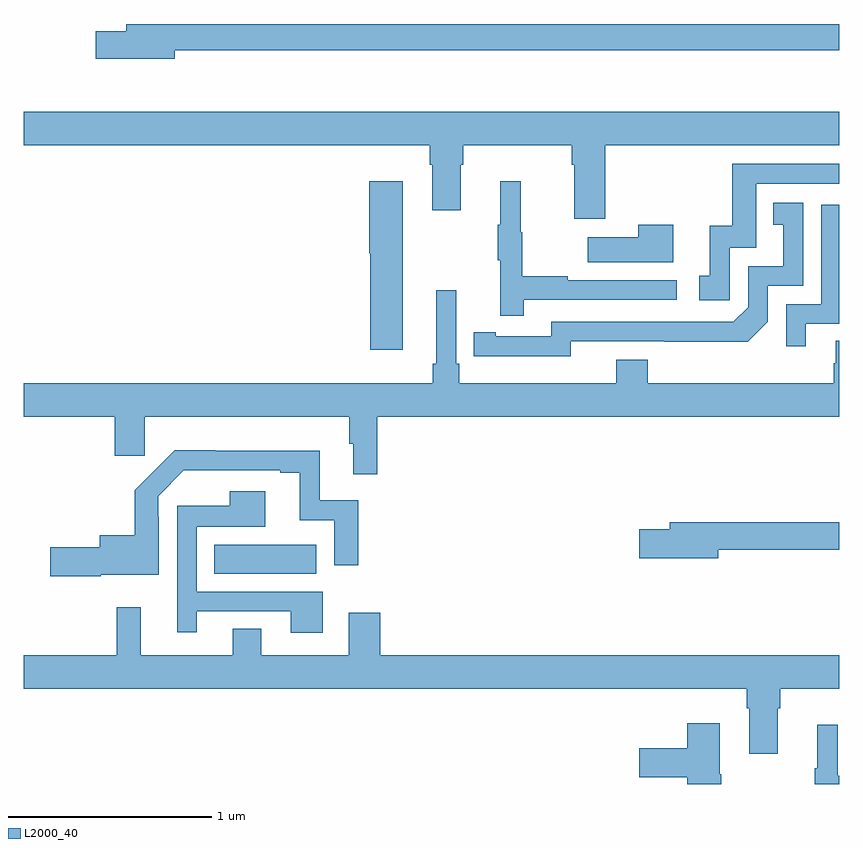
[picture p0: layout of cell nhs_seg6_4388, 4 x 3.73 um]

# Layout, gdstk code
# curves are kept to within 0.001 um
import gdstk
lib = gdstk.Library(unit=1e-6, precision=1e-09)
def R(c, l, rs):  # rectangles x0, y0, x1, y1
    for r in rs: c.add(gdstk.rectangle(r[:2], r[2:], *l))
def P(c, l, *ps):  # polygons
    for p in ps: c.add(gdstk.Polygon(p, *l))
L2000_40 = (2000, 40)

nhs_seg6_4388 = lib.new_cell('nhs_seg6_4388')
R(nhs_seg6_4388, L2000_40, [(369.934,982.532,370.435,982.672)])
P(nhs_seg6_4388, L2000_40, [(369.742,985.098),(373,985.098),(373,985.226),(369.503,985.226),(369.503,985.19),(369.354,985.19),(369.354,985.055),(369.742,985.055)],
  [(371.852,984.632),(373,984.632),(373,984.796),(369,984.796),(369,984.632),(370.991,984.632),(370.991,984.536),(371.003,984.536),(371.003,984.312),(371.143,984.312),(371.143,984.536),(371.156,984.536),(371.156,984.632),(371.687,984.632),(371.687,984.536),(371.699,984.536),(371.699,984.27),(371.852,984.27)],
  [(372.462,984.129),(372.591,984.129),(372.591,984.444),(373,984.444),(373,984.54),(372.475,984.54),(372.475,984.238),(372.365,984.238),(372.365,983.991),(372.312,983.991),(372.312,983.871),(372.462,983.871)],
  [(371.453,983.874),(372.202,983.874),(372.202,983.97),(371.669,983.97),(371.669,983.99),(371.446,983.99),(371.446,984.204),(371.438,984.204),(371.438,984.454),(371.336,984.454),(371.336,984.241),(371.325,984.241),(371.325,984.067),(371.336,984.067),(371.336,983.796),(371.453,983.796)],
  [(370.858,984.454),(370.694,984.454),(370.694,984.102),(370.7,984.102),(370.7,983.628),(370.858,983.628)],
  [(371.682,983.67),(372.55,983.669),(372.648,983.766),(372.648,983.943),(372.822,983.943),(372.822,984.349),(372.676,984.349),(372.676,984.243),(372.725,984.243),(372.725,984.039),(372.552,984.039),(372.552,983.838),(372.48,983.766),(371.586,983.766),(371.586,983.694),(371.314,983.694),(371.314,983.714),(371.206,983.714),(371.206,983.598),(371.682,983.597)],
  [(372.835,983.757),(373,983.757),(373,984.339),(372.912,984.339),(372.912,983.853),(372.738,983.853),(372.738,983.646),(372.835,983.646)],
  [(372.184,984.241),(372.014,984.241),(372.014,984.181),(371.765,984.181),(371.765,984.059),(372.184,984.059)],
  [(370.733,983.3),(373,983.3),(373,983.672),(372.983,983.672),(372.983,983.562),(372.971,983.562),(372.971,983.464),(372.059,983.464),(372.059,983.581),(371.906,983.581),(371.906,983.464),(371.135,983.464),(371.135,983.56),(371.121,983.56),(371.121,983.92),(371.024,983.92),(371.024,983.56),(371.005,983.56),(371.005,983.464),(369,983.464),(369,983.3),(369.448,983.3),(369.448,983.109),(369.593,983.109),(369.593,983.3),(370.597,983.3),(370.597,983.168),(370.616,983.168),(370.616,983.019),(370.733,983.019)],
  [(369.378,982.526),(369.663,982.526),(369.663,982.811),(369.66,982.811),(369.66,982.911),(369.786,983.037),(370.259,983.037),(370.259,983.025),(370.355,983.025),(370.355,982.794),(370.524,982.794),(370.524,982.572),(370.64,982.572),(370.64,982.89),(370.453,982.89),(370.453,983.134),(369.941,983.134),(369.941,983.137),(369.742,983.137),(369.545,982.939),(369.545,982.72),(369.374,982.72),(369.374,982.661),(369.132,982.661),(369.132,982.519),(369.378,982.519)],
  [(370.468,982.443),(369.849,982.443),(369.849,982.76),(370.186,982.76),(370.186,982.936),(370.01,982.936),(370.01,982.864),(369.753,982.864),(369.753,982.245),(369.85,982.245),(369.85,982.347),(370.31,982.347),(370.31,982.241),(370.468,982.241)],
  [(372.406,982.648),(373,982.648),(373,982.784),(372.167,982.784),(372.167,982.748),(372.018,982.748),(372.018,982.606),(372.406,982.606)],
  [(372.697,981.872),(372.71,981.872),(372.71,981.968),(373,981.968),(373,982.132),(370.748,982.132),(370.748,982.339),(370.595,982.339),(370.595,982.132),(370.165,982.132),(370.165,982.262),(370.025,982.262),(370.025,982.132),(369.575,982.132),(369.575,982.366),(369.457,982.366),(369.457,982.132),(369,982.132),(369,981.968),(372.545,981.968),(372.545,981.872),(372.557,981.872),(372.557,981.648),(372.697,981.648)],
  [(372.42,981.549),(372.412,981.549),(372.412,981.799),(372.254,981.799),(372.254,981.675),(372.018,981.675),(372.018,981.533),(372.254,981.533),(372.254,981.5),(372.42,981.5)],
  [(373,981.54),(372.992,981.54),(372.992,981.79),(372.89,981.79),(372.89,981.577),(372.879,981.577),(372.879,981.5),(373,981.5)])

lib.write_gds('nhs_seg6_4388.gds')
